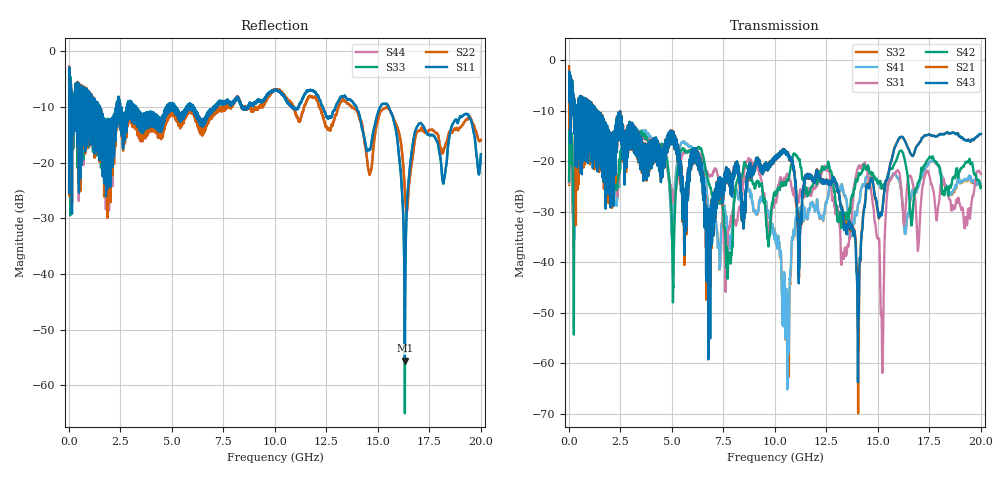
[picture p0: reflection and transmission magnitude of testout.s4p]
!Keysight Technologies PLTS 2017U1, Build 20170714.1
!FILE: G:\CAP1P_CBP1N_CAP1N_CBP1P.s4p
!$DUT_CFG_DESC: Default 4-Port Configuration
!$NUMBER_PORTS: 4
!$DIFF_PORT_MAP: 1|2P|2|2P|0|UC|0|UC|
!$PORT_MAP: 1|1|<<<<<<|2|2|>>>>>>|3|3|<<<<<<|4|4|>>>>>>|
!Date: Tuesday, August 29, 2017, 01:43:54
!S4P File: Measurements: <S11,S12,S13,S14>,
!<S21,S22,S23,S24>,
!<S31,S32,S33,S34>,
!<S41,S42,S43,S44>:
!Created with skrf (http://scikit-rf.org).
# MHz S RI R 100.0
!freq
! ReS14 ImS14
! ReS24 ImS24
! ReS34 ImS34
! ReS44 ImS44
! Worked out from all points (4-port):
!   2000 points, 10 MHz to 20 GHz, reference 100 ohm
!   strongest paths, dB at 10 MHz, 5.01 GHz, 10.01 GHz, 15.01 GHz, 20 GHz:
!     S43: -8.2, -14.0, -19.9, -30.0, -14.6
!     S21: -1.2, -16.3, -19.1, -30.4, -14.6
!     S42: -23.9, -35.5, -26.0, -24.4, -25.2
!     S31: -24.3, -25.9, -27.5, -35.3, -22.5
!     S41: -24.3, -35.4, -34.4, -24.2, -24.4
!     S32: -24.7, -34.7, -34.0, -24.2, -24.7
!   lowest |S11| = -55.6 dB at 16.31 GHz (marker M1), VSWR 1.00, Z = 100 - j0.127 ohm
!   |S11| at or under -10 dB: 3.26 GHz to 4.778 GHz (1.518 GHz wide, 37.8 % of centre); 13.95 GHz to 15.12 GHz (1.173 GHz wide, 8.07 % of centre); 15.52 GHz to end of sweep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
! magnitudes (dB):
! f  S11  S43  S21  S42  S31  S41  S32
! 10 MHz  -25.5  -8.2  -1.2  -23.9  -24.3  -24.3  -24.7
! 6.77 GHz  -11.7  -59.2  -30.5  -24.1  -22.6  -28.9  -28.8
! 10.6 GHz  -9.0  -18.5  -18.7  -23.8  -22.6  -65.2  -57.2
! 14.05 GHz  -10.8  -50.6  -54.8  -22.8  -21.3  -28.3  -28.3
! 15.2 GHz  -9.5  -30.1  -30.0  -25.4  -57.8  -25.4  -25.3
! 16.31 GHz  -55.6  -15.9  -15.9  -19.8  -31.1  -34.3  -34.3
! 20 GHz  -18.6  -14.6  -14.6  -25.2  -22.5  -24.4  -24.7
